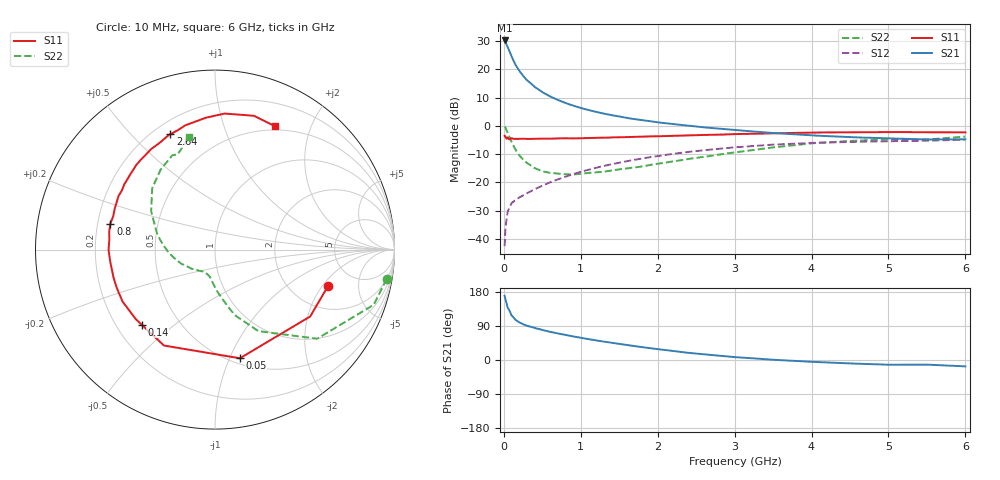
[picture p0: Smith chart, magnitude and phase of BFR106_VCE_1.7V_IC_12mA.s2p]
! Infineon Technologies  Discrete & RF Semiconductors
! BFR106
! VCE =  1.7 V,  IC =  12 mA
! Common Emitter S-Parameters:  Nov 2015
# GHz  S  MA  R  50
!  f  S11  S21  S12  S22
! GHz  MAG  ANG  MAG  ANG  MAG  ANG  MAG  ANG
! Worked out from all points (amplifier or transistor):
!   210 points, 10 MHz to 6 GHz, reference 50 ohm
!   highest |S21| = 30.2 dB at 10 MHz (marker M1)
!   |S21| within 3 dB of that: start of sweep to 60.63 MHz
!   unconditionally stable (mu >= 1): 441.7 MHz to 2.5 GHz; 4.588 GHz to end of sweep
!   at 185 MHz: K = 0.63, MSG = 22.9 dB, |S12| = -25.6 dB
!   at 1.52 GHz: K = 1.09, MAG = 6.3 dB, |S12| = -13.0 dB
!   at 6 GHz: K = 1.02, MAG = -0.8 dB, |S12| = -4.9 dB
!   S11 on the Smith chart (normalised r, x): 10 MHz: 3.12, -2.28; 50 MHz: 0.55, -1.09; 140 MHz: 0.30, -0.39; 800 MHz: 0.25, +0.12; 2.64 GHz: 0.27, +0.65; 6 GHz: 0.45, +1.50
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0.01  0.6611 -18.1  32.31 169.4  0.0074 83.1  0.9702 -9.7
0.02  0.6482 -35.1  30.83 160.5  0.0144 75.6  0.9358 -19.2
0.05  0.6211 -77.1  24.77 137.9  0.03 58.9  0.7555 -41.1
0.1  0.6054 -118.0  16.76 117.4  0.0425 47.5  0.5142 -62.0
0.14  0.5847 -134.4  12.95 108.9  0.0475 45.1  0.4057 -70.5
0.15  0.5873 -138.6  12.05 105.9  0.0488 44.6  0.3804 -73.3
0.2  0.5908 -150.6  9.409 99.3  0.0538 45.5  0.302 -79.2
0.24  0.5874 -157.2  7.969 95.3  0.0575 46.8  0.2597 -83.6
0.26  0.587 -160.0  7.372 93.5  0.0595 47.6  0.2435 -85.6
0.3  0.5864 -164.7  6.405 90.4  0.0639 49.5  0.2201 -88.7
0.4  0.5877 -173.6  4.887 84.4  0.0752 53.0  0.1786 -95.0
0.5  0.5931 180.0  3.932 79.2  0.0866 55.6  0.1563 -100.0
0.6  0.5913 174.5  3.31 74.3  0.0996 57.3  0.1467 -104.4
0.8  0.6009 166.0  2.523 66.0  0.126 59.0  0.1387 -113.8
1.02  0.6041 157.2  2.029 58.0  0.1557 59.2  0.1423 -122.2
1.4  0.6227 144.6  1.538 45.6  0.2083 56.8  0.1618 -137.5
2.02  0.6524 127.1  1.142 28.2  0.2937 49.5  0.2147 -162.1
2.64  0.6894 111.1  0.927 14.4  0.3735 40.3  0.2867 175.5
3.1  0.715 101.6  0.82 6.3  0.4241 32.7  0.3505 160.4
4.1  0.7599 84.7  0.665 -5.5  0.5009 16.7  0.4974 133.2
5.1  0.7738 72.6  0.592 -12.4  0.5342 3.5  0.5755 113.7
6  0.7653 64.2  0.575 -16.8  0.5688 -6.1  0.6428 102.8
